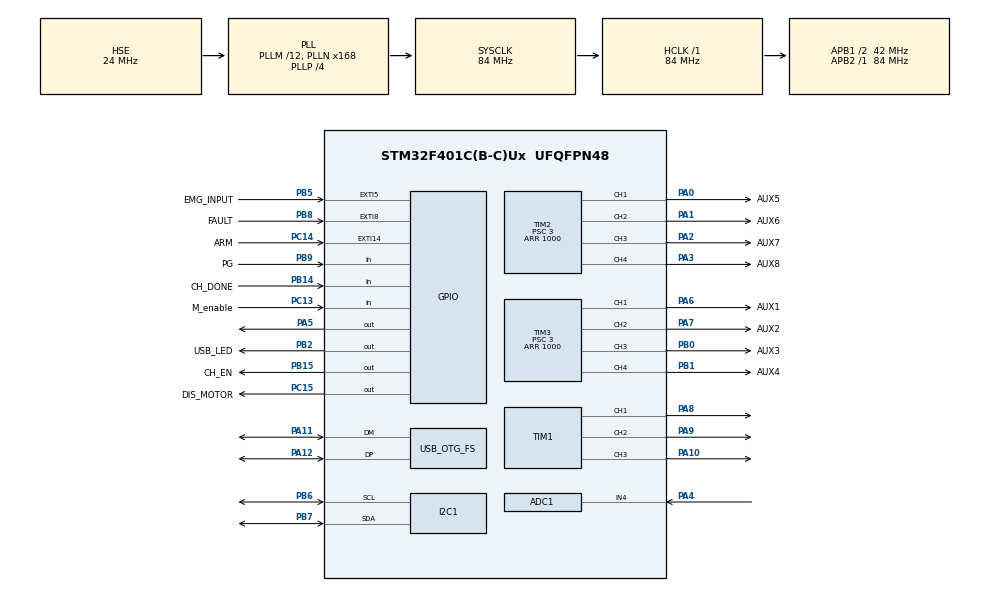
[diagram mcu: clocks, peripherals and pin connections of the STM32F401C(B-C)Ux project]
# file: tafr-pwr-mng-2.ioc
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ADC1.AutoInjectedConv=DISABLE
ADC1.Channel-0\#ChannelRegularConversion=ADC_CHANNEL_4
ADC1.ClockPrescaler=ADC_CLOCK_SYNC_PCLK_DIV4
ADC1.ContinuousConvMode=ENABLE
ADC1.DMAContinuousRequests=ENABLE
ADC1.DataAlign=ADC_DATAALIGN_RIGHT
ADC1.DiscontinuousConvMode=DISABLE
ADC1.EOCSelection=ADC_EOC_SINGLE_CONV
ADC1.EnableAnalogWatchDog=false
ADC1.ExternalTrigConv=ADC_SOFTWARE_START
ADC1.ExternalTrigConvEdge=ADC_EXTERNALTRIGCONVEDGE_NONE
ADC1.InjNumberOfConversion=0
ADC1.InjectedDiscontinuousConvMode=DISABLE
ADC1.NbrOfConversion=1
ADC1.NbrOfConversionFlag=1
ADC1.Rank-0\#ChannelRegularConversion=1
ADC1.Resolution=ADC_RESOLUTION_12B
ADC1.SamplingTime-0\#ChannelRegularConversion=ADC_SAMPLETIME_480CYCLES
ADC1.ScanConvMode=ENABLE
ADC1.master=1
Dma.ADC1.0.Direction=DMA_PERIPH_TO_MEMORY
Dma.ADC1.0.FIFOMode=DMA_FIFOMODE_DISABLE
Dma.ADC1.0.Instance=DMA2_Stream0
Dma.ADC1.0.MemDataAlignment=DMA_MDATAALIGN_HALFWORD
Dma.ADC1.0.MemInc=DMA_MINC_ENABLE
Dma.ADC1.0.Mode=DMA_NORMAL
Dma.ADC1.0.PeriphDataAlignment=DMA_PDATAALIGN_HALFWORD
Dma.ADC1.0.PeriphInc=DMA_PINC_DISABLE
Dma.ADC1.0.Priority=DMA_PRIORITY_LOW
Dma.Request0=ADC1
I2C1.DutyCycle=I2C_DUTYCYCLE_2
I2C1.I2C_Mode=I2C_Fast
Mcu.Family=STM32F4
Mcu.Name=STM32F401C(B-C)Ux
Mcu.Package=UFQFPN48
NVIC.DMA2_Stream0_IRQn=true\:0\:0\:false\:false\:false
NVIC.EXTI15_10_IRQn=true\:0\:0\:false\:false\:true
NVIC.EXTI9_5_IRQn=true\:0\:0\:false\:false\:true
NVIC.OTG_FS_IRQn=true\:0\:0\:false\:false\:true
NVIC.PriorityGroup=NVIC_PRIORITYGROUP_4
NVIC.TIM4_IRQn=true\:0\:0\:false\:false\:true
NVIC.TIM5_IRQn=true\:1\:0\:true\:false\:true
PA0-WKUP.GPIO_Label=AUX5
PA0-WKUP.GPIO_ModeDefaultPP=GPIO_MODE_AF_PP
PA0-WKUP.GPIO_PuPd=GPIO_NOPULL
PA0-WKUP.GPIO_Speed=GPIO_SPEED_FREQ_LOW
PA0-WKUP.Signal=S_TIM2_CH1_ETR
PA1.GPIO_Label=AUX6
PA1.GPIO_ModeDefaultPP=GPIO_MODE_AF_PP
PA1.GPIO_PuPd=GPIO_NOPULL
PA1.GPIO_Speed=GPIO_SPEED_FREQ_LOW
PA1.Signal=S_TIM2_CH2
PA10.GPIO_ModeDefaultPP=GPIO_MODE_AF_PP
PA10.GPIO_PuPd=GPIO_NOPULL
PA10.GPIO_Speed=GPIO_SPEED_FREQ_LOW
PA10.Signal=S_TIM1_CH3
PA11.Mode=Device_Only
PA11.Signal=USB_OTG_FS_DM
PA12.Mode=Device_Only
PA12.Signal=USB_OTG_FS_DP
PA13.Mode=Serial_Wire
PA13.Signal=SYS_JTMS-SWDIO
PA14.Mode=Serial_Wire
PA14.Signal=SYS_JTCK-SWCLK
PA2.GPIO_Label=AUX7
PA2.GPIO_ModeDefaultPP=GPIO_MODE_AF_PP
PA2.GPIO_PuPd=GPIO_NOPULL
PA2.GPIO_Speed=GPIO_SPEED_FREQ_LOW
PA2.Signal=S_TIM2_CH3
PA3.GPIO_Label=AUX8
PA3.GPIO_ModeDefaultPP=GPIO_MODE_AF_PP
PA3.GPIO_PuPd=GPIO_NOPULL
PA3.GPIO_Speed=GPIO_SPEED_FREQ_LOW
PA3.Signal=S_TIM2_CH4
PA4.GPIO_Mode=GPIO_MODE_ANALOG
PA4.GPIO_PuPd=GPIO_NOPULL
PA4.Signal=ADCx_IN4
PA5.PinState=GPIO_PIN_SET
PA5.Signal=GPIO_Output
PA6.GPIO_Label=AUX1
PA6.GPIO_ModeDefaultPP=GPIO_MODE_AF_PP
PA6.GPIO_PuPd=GPIO_NOPULL
PA6.GPIO_Speed=GPIO_SPEED_FREQ_LOW
PA6.Signal=S_TIM3_CH1
PA7.GPIO_Label=AUX2
PA7.GPIO_ModeDefaultPP=GPIO_MODE_AF_PP
PA7.GPIO_PuPd=GPIO_NOPULL
PA7.GPIO_Speed=GPIO_SPEED_FREQ_LOW
PA7.Signal=S_TIM3_CH2
PA8.GPIO_ModeDefaultPP=GPIO_MODE_AF_PP
PA8.GPIO_PuPd=GPIO_NOPULL
PA8.GPIO_Speed=GPIO_SPEED_FREQ_LOW
PA8.Signal=S_TIM1_CH1
PA9.GPIO_ModeDefaultPP=GPIO_MODE_AF_PP
PA9.GPIO_PuPd=GPIO_NOPULL
PA9.GPIO_Speed=GPIO_SPEED_FREQ_LOW
PA9.Signal=S_TIM1_CH2
PB0.GPIO_Label=AUX3
PB0.GPIO_ModeDefaultPP=GPIO_MODE_AF_PP
PB0.GPIO_PuPd=GPIO_NOPULL
PB0.GPIO_Speed=GPIO_SPEED_FREQ_LOW
PB0.Signal=S_TIM3_CH3
PB1.GPIO_Label=AUX4
PB1.GPIO_ModeDefaultPP=GPIO_MODE_AF_PP
PB1.GPIO_PuPd=GPIO_NOPULL
PB1.GPIO_Speed=GPIO_SPEED_FREQ_LOW
PB1.Signal=S_TIM3_CH4
PB14.GPIO_Label=CH_DONE
PB14.GPIO_Mode=GPIO_MODE_INPUT
PB14.GPIO_PuPd=GPIO_NOPULL
PB14.Signal=GPIO_Input
PB15.GPIO_Label=CH_EN
PB15.GPIO_ModeDefaultOutputPP=GPIO_MODE_OUTPUT_PP
PB15.GPIO_PuPd=GPIO_NOPULL
PB15.GPIO_Speed=GPIO_SPEED_FREQ_LOW
PB15.PinState=GPIO_PIN_RESET
PB15.Signal=GPIO_Output
PB2.GPIO_Label=USB_LED
PB2.GPIO_ModeDefaultOutputPP=GPIO_MODE_OUTPUT_PP
PB2.GPIO_PuPd=GPIO_NOPULL
PB2.GPIO_Speed=GPIO_SPEED_FREQ_LOW
PB2.PinState=GPIO_PIN_RESET
PB2.Signal=GPIO_Output
PB5.GPIO_Label=EMG_INPUT
PB5.GPIO_ModeDefaultEXTI=GPIO_MODE_IT_RISING_FALLING
PB5.GPIO_PuPd=GPIO_PULLDOWN
PB5.Signal=GPXTI5
PB6.Mode=I2C
PB6.Signal=I2C1_SCL
PB7.Mode=I2C
PB7.Signal=I2C1_SDA
PB8.GPIO_Label=FAULT
PB8.Signal=GPXTI8
PB9.GPIO_Label=PG
PB9.GPIO_Mode=GPIO_MODE_INPUT
PB9.GPIO_PuPd=GPIO_NOPULL
PB9.Signal=GPIO_Input
PC13-ANTI_TAMP.GPIO_Label=M_enable
PC13-ANTI_TAMP.GPIO_Mode=GPIO_MODE_INPUT
PC13-ANTI_TAMP.GPIO_PuPd=GPIO_NOPULL
PC13-ANTI_TAMP.Signal=GPIO_Input
PC14-OSC32_IN.GPIO_Label=ARM
PC14-OSC32_IN.GPIO_ModeDefaultEXTI=GPIO_MODE_IT_RISING
PC14-OSC32_IN.GPIO_PuPd=GPIO_NOPULL
PC14-OSC32_IN.Signal=GPXTI14
PC15-OSC32_OUT.GPIO_Label=DIS_MOTOR
PC15-OSC32_OUT.GPIO_ModeDefaultOutputPP=GPIO_MODE_OUTPUT_PP
PC15-OSC32_OUT.GPIO_PuPd=GPIO_NOPULL
PC15-OSC32_OUT.GPIO_Speed=GPIO_SPEED_FREQ_LOW
PC15-OSC32_OUT.PinState=GPIO_PIN_RESET
PC15-OSC32_OUT.Signal=GPIO_Output
PH0\ -\ OSC_IN.Mode=HSE-External-Oscillator
PH0\ -\ OSC_IN.Signal=RCC_OSC_IN
PH1\ -\ OSC_OUT.Mode=HSE-External-Oscillator
PH1\ -\ OSC_OUT.Signal=RCC_OSC_OUT
ProjectManager.HeapSize=0x200
ProjectManager.StackSize=0x400
ProjectManager.TargetToolchain=MDK-ARM V5
RCC.48MHZClocksFreq_Value=48000000
RCC.AHBCLKDivider=RCC_SYSCLK_DIV1
RCC.AHBFreq_Value=84000000
RCC.APB1CLKDivider=RCC_HCLK_DIV2
RCC.APB1Freq_Value=42000000
RCC.APB1TimFreq_Value=84000000
RCC.APB2CLKDivider=RCC_HCLK_DIV1
RCC.APB2Freq_Value=84000000
RCC.APB2TimFreq_Value=84000000
RCC.ClockTypeHCLK=RCC_CLOCKTYPE_HCLK
RCC.ClockTypePCLK1=RCC_CLOCKTYPE_PCLK1
RCC.ClockTypePCLK2=RCC_CLOCKTYPE_PCLK2
RCC.ClockTypeSysClk=RCC_CLOCKTYPE_SYSCLK
RCC.CortexFreq_Value=84000000
RCC.Cortex_Div=SYSTICK_CLKSOURCE_HCLK
RCC.DATA_CACHE_ENABLE=1
RCC.EXTERNAL_CLOCK_VALUE=12288000
RCC.EnableExtClockForI2S=false
RCC.EnableHSE=true
RCC.EnableHSERTCDevisor=false
RCC.EnableLSE=false
RCC.EnableLSERTC=false
RCC.ExtClockEnable=false
RCC.FLatency=FLASH_LATENCY_2
RCC.HCLKFreq_Value=84000000
RCC.HSEState=RCC_HSE_ON
RCC.HSE_Timout=500
RCC.HSE_VALUE=24000000
RCC.HSIState=RCC_HSI_OFF
RCC.HSI_VALUE=16000000
RCC.I2SClockSource=I2S_CLOCK_PLL
RCC.I2SEnable=false
RCC.INSTRUCTION_CACHE_ENABLE=1
RCC.IWDGEnable=false
RCC.LSEState=RCC_LSE_OFF
RCC.LSE_VALUE=32768
RCC.LSIState=RCC_LSI_OFF
RCC.MCO1OutPutEnable=false
RCC.MCO2OutPutEnable=false
RCC.OscillatorTypeHSE=RCC_OSCILLATORTYPE_HSE
RCC.OscillatorTypeHSI=RCC_OSCILLATORTYPE_HSI
RCC.PLLM=12
RCC.PLLN=168
RCC.PLLP=RCC_PLLP_DIV4
RCC.PLLQ=7
RCC.PLLSource=RCC_PLLSOURCE_HSE
RCC.PLLSourceVirtual=RCC_PLLSOURCE_HSE
RCC.PLLState=RCC_PLL_ON
RCC.PREFETCH_ENABLE=1
RCC.PWR_Regulator_Voltage_Scale=PWR_REGULATOR_VOLTAGE_SCALE2
RCC.RCC_MCO1Source=RCC_MCO1SOURCE_HSI
RCC.RCC_MCO2Source=RCC_MCO2SOURCE_SYSCLK
RCC.RCC_MCODiv1=RCC_MCODIV_1
RCC.RCC_MCODiv2=RCC_MCODIV_1
RCC.RCC_RTC_Clock_Source=RCC_RTCCLKSOURCE_LSI
RCC.RCC_RTC_Clock_SourceVirtual=RCC_RTCCLKSOURCE_LSI
RCC.RCC_RTC_Clock_Source_FROM_HSE=RCC_RTCCLKSOURCE_HSE_DIV2
RCC.RCC_TIM_PRescaler_Selection=RCC_TIMPRES_DESACTIVATED
RCC.RNGEnable=false
RCC.RTCEnable=false
RCC.SDIOEnable=false
RCC.SYSCLKFreq_VALUE=84000000
RCC.SYSCLKSource=RCC_SYSCLKSOURCE_PLLCLK
RCC.USBFSEnable=true
RCC.USBHSEnable=false
RCC.VCOOutputFreq_Value=336000000
SH.ADCx_IN4.0=ADC1_IN4,IN4
SH.S_TIM1_CH1.0=TIM1_CH1,PWM Generation1 CH1
SH.S_TIM1_CH2.0=TIM1_CH2,PWM Generation2 CH2
SH.S_TIM1_CH3.0=TIM1_CH3,PWM Generation3 CH3
SH.S_TIM2_CH1_ETR.0=TIM2_CH1,PWM Generation1 CH1
SH.S_TIM2_CH2.0=TIM2_CH2,PWM Generation2 CH2
SH.S_TIM2_CH3.0=TIM2_CH3,PWM Generation3 CH3
SH.S_TIM2_CH4.0=TIM2_CH4,PWM Generation4 CH4
SH.S_TIM3_CH1.0=TIM3_CH1,PWM Generation1 CH1
SH.S_TIM3_CH2.0=TIM3_CH2,PWM Generation2 CH2
SH.S_TIM3_CH3.0=TIM3_CH3,PWM Generation3 CH3
SH.S_TIM3_CH4.0=TIM3_CH4,PWM Generation4 CH4
TIM1.Channel-PWM\ Generation1\ CH1=TIM_CHANNEL_1
TIM1.Channel-PWM\ Generation2\ CH2=TIM_CHANNEL_2
TIM1.Channel-PWM\ Generation3\ CH3=TIM_CHANNEL_3
TIM1.OCNIdleState_1=TIM_OCNIDLESTATE_RESET
TIM1.OCNIdleState_2=TIM_OCNIDLESTATE_RESET
TIM1.OCNIdleState_3=TIM_OCNIDLESTATE_RESET
TIM1.OCNPolarity_1=TIM_OCNPOLARITY_HIGH
TIM1.OCNPolarity_2=TIM_OCNPOLARITY_HIGH
TIM1.OCNPolarity_3=TIM_OCNPOLARITY_HIGH
TIM2.Channel-PWM\ Generation1\ CH1=TIM_CHANNEL_1
TIM2.Channel-PWM\ Generation2\ CH2=TIM_CHANNEL_2
TIM2.Channel-PWM\ Generation3\ CH3=TIM_CHANNEL_3
TIM2.Channel-PWM\ Generation4\ CH4=TIM_CHANNEL_4
TIM2.Period=1000
TIM2.Prescaler=3
TIM3.Channel-PWM\ Generation1\ CH1=TIM_CHANNEL_1
TIM3.Channel-PWM\ Generation2\ CH2=TIM_CHANNEL_2
TIM3.Channel-PWM\ Generation3\ CH3=TIM_CHANNEL_3
TIM3.Channel-PWM\ Generation4\ CH4=TIM_CHANNEL_4
TIM3.Period=1000
TIM3.Prescaler=3
TIM4.Period=50000
TIM4.Prescaler=83
TIM5.Period=999
TIM5.Prescaler=83
USB_DEVICE.CLASS_NAME_FS=CDC
USB_DEVICE.USBD_HandleTypeDef_FS=hUsbDevice_OTG_FS
USB_DEVICE.VirtualModeFS=Cdc_FS
USB_OTG_FS.VirtualMode=Device_Only
USB_OTG_FS.phy_itface=PCD_PHY_EMBEDDED
USB_OTG_FS.vbus_sensing_enable=ENABLE
VP_TIM4_VS_ClockSourceINT.Mode=Internal
VP_TIM5_VS_ClockSourceINT.Mode=Internal
VP_USB_DEVICE_VS_USB_DEVICE_CDC_FS.Mode=CDC_FS
board=tafr-pwr-mng-2

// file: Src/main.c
/**
  ******************************************************************************
  * File Name          : main.c
  * Description        : Main program body
  ******************************************************************************
  *
  * Copyright (c) 2018 STMicroelectronics International N.V.
  * All rights reserved.
  *
  * Redistribution and use in source and binary forms, with or without
  * modification, are permitted, provided that the following conditions are met:
  *
  * 1. Redistribution of source code must retain the above copyright notice,
  *    this list of conditions and the following disclaimer.
  * 2. Redistributions in binary form must reproduce the above copyright notice,
  *    this list of conditions and the following disclaimer in the documentation
  *    and/or other materials provided with the distribution.
  * 3. Neither the name of STMicroelectronics nor the names of other
  *    contributors to this software may be used to endorse or promote products
  *    derived from this software without specific written permission.
  * 4. This software, including modifications and/or derivative works of this
  *    software, must execute solely and exclusively on microcontroller or
  *    microprocessor devices manufactured by or for STMicroelectronics.
  * 5. Redistribution and use of this software other than as permitted under
  *    this license is void and will automatically terminate your rights under
  *    this license.
  *
  * THIS SOFTWARE IS PROVIDED BY STMICROELECTRONICS AND CONTRIBUTORS "AS IS"
  * AND ANY EXPRESS, IMPLIED OR STATUTORY WARRANTIES, INCLUDING, BUT NOT
  * LIMITED TO, THE IMPLIED WARRANTIES OF MERCHANTABILITY, FITNESS FOR A
  * PARTICULAR PURPOSE AND NON-INFRINGEMENT OF THIRD PARTY INTELLECTUAL PROPERTY
  * RIGHTS ARE DISCLAIMED TO THE FULLEST EXTENT PERMITTED BY LAW. IN NO EVENT
  * SHALL STMICROELECTRONICS OR CONTRIBUTORS BE LIABLE FOR ANY DIRECT, INDIRECT,
  * INCIDENTAL, SPECIAL, EXEMPLARY, OR CONSEQUENTIAL DAMAGES (INCLUDING, BUT NOT
  * LIMITED TO, PROCUREMENT OF SUBSTITUTE GOODS OR SERVICES; LOSS OF USE, DATA,
  * OR PROFITS; OR BUSINESS INTERRUPTION) HOWEVER CAUSED AND ON ANY THEORY OF
  * LIABILITY, WHETHER IN CONTRACT, STRICT LIABILITY, OR TORT (INCLUDING
  * NEGLIGENCE OR OTHERWISE) ARISING IN ANY WAY OUT OF THE USE OF THIS SOFTWARE,
  * EVEN IF ADVISED OF THE POSSIBILITY OF SUCH DAMAGE.
  *
  ******************************************************************************
  */
#include "main.h"
#include "stm32f4xx_hal.h"
#include "usb_device.h"

/* USER CODE BEGIN Includes */
#include "LTC2943.h"
#include "oled.h"
#include "fonts.h"
#include "outputs.h"
#include "pwm.h"
#include "outputs.h"
#include "LTC2943.h"
#include "oled.h"
#include <string.h>
#include "bitmap.h"
#include "gfx.h"

/* USER CODE END Includes */

ADC_HandleTypeDef hadc1;
DMA_HandleTypeDef hdma_adc1;

I2C_HandleTypeDef hi2c1;

TIM_HandleTypeDef htim1;
TIM_HandleTypeDef htim2;
TIM_HandleTypeDef htim3;
TIM_HandleTypeDef htim4;
TIM_HandleTypeDef htim5;

/* USER CODE BEGIN PV */
/* Private variables ---------------------------------------------------------*/

float temperature, charge, voltage, current;
uint8_t outputs[5] = {0};
uint16_t pwm[8] = {0};
uint16_t rc_pwm[3] = {0};

uint8_t counter = 0, counter2 = 0, counter3 = 0, counter4 = 0, startup = 0, lcd_counter_1 = 0, arm_flag = 0, counter5 = 0;
uint8_t startup_time = 10;
uint8_t display_state = 0;

extern uint8_t remote_emg, user_override, arm;
uint8_t user_override_lcd = 0;

/* USER CODE END PV */

void SystemClock_Config(void);
void Error_Handler(void);
static void MX_GPIO_Init(void);
static void MX_DMA_Init(void);
static void MX_ADC1_Init(void);
static void MX_TIM1_Init(void);
static void MX_TIM2_Init(void);
static void MX_TIM3_Init(void);
static void MX_I2C1_Init(void);
static void MX_TIM5_Init(void);
static void MX_TIM4_Init(void);

void HAL_TIM_MspPostInit(TIM_HandleTypeDef *htim);

/* USER CODE BEGIN PFP */
/* Private function prototypes -----------------------------------------------*/

/* USER CODE END PFP */

int main(void)
{

  /* MCU Configuration----------------------------------------------------------*/

  /* Reset of all peripherals, Initializes the Flash interface and the Systick. */
  HAL_Init();

  /* Configure the system clock */
  SystemClock_Config();

  /* Initialize all configured peripherals */
  MX_GPIO_Init();
  MX_DMA_Init();
  MX_ADC1_Init();
  MX_TIM1_Init();
  MX_TIM2_Init();
  MX_TIM3_Init();
  MX_I2C1_Init();
  MX_TIM5_Init();
  MX_USB_DEVICE_Init();
  MX_TIM4_Init();

  /* USER CODE BEGIN 2 */

	LTC_init(hi2c1);
	oled_init();
	HAL_Delay(50);

	HAL_TIM_Base_Start_IT(&htim4);
	HAL_TIM_Base_Start_IT(&htim5);

  /* USER CODE END 2 */

  /* Infinite loop */
  /* USER CODE BEGIN WHILE */
  while (1)
  {

				//whole loop takes about 80ms to complete because long i2c writes to oled
		update_usb_led();

		LTC_getdata(&temperature,&charge,&voltage,&current); //read data from power meter

		char buff[20];

		//clear gddr
		clear();

		if(startup<32)
		{
			draw_tafr(31,0);
			graphics_text(0,0,FONT_TEN_DOT,"V0.99");
			startup++;
		}
		else
		{
			//voltage,current,power,temperature
			sprintf(buff,"%4.1fV",voltage);
			graphics_text(0,0,FONT_TEN_DOT,buff);
			sprintf(buff,"%4.1fA",current);
			graphics_text(0,12,FONT_TEN_DOT,buff);
			float power = voltage*current;
			sprintf(buff,"%4.1fW",power);
			graphics_text(84,0,FONT_TEN_DOT,buff);
			sprintf(buff,"%4.1fC",temperature);
			graphics_text(84,12,FONT_TEN_DOT,buff);
			line_h(0,127,25,1,add);
			line_v(0,25,48,1,add);
			line_v(0,25,78,1,add);

			sprintf(buff,"%5.0fmAh",charge);
			graphics_text(92,58,FONT_FIVE_DOT,buff);

			if(counter4++>32)
			{
				counter4 = 0;
				display_state++;
				if(display_state==11)
					display_state = 0;
			}

			if(display_state<4)
				sprintf(buff,"OUT%d: %d",display_state+1,outputs[display_state]);
			else if(display_state<8)
				sprintf(buff,"PWM%d: %d",display_state-3,pwm[display_state-4]);
			else
				sprintf(buff,"SERVO%d: %d",display_state-7,rc_pwm[display_state-8]);

			graphics_text(0,58,FONT_FIVE_DOT,buff);

			line_h(0,127,56,1,add);
			line_v(56,63,63,1,add);

			//usb
			if(is_usb_connected())
				draw_usb(50,0);

			//interface

			if(HAL_GPIO_ReadPin(M_enable_GPIO_Port,M_enable_Pin))
			{
				if(counter3<startup_time)
				{
					//graphics_text(30,32,FONT_TEN_DOT,"STARTING");
					line_h(5,123,41,12,add);
					line_h(7,121,41,8,erase);
					line_h(9,9+110*counter3/startup_time,41,4,add);
					counter3++;
				}
				else
				{
					graphics_text(30,34,FONT_FIFTEEN_DOT,"ARMED");
					if(counter2++%32<20)
					{
						graphics_text(15,34,FONT_FIFTEEN_DOT,"!");
						graphics_text(110,34,FONT_FIFTEEN_DOT,"!");
					}
				}
				counter = 0;
			}
			else
			{
				if(counter5%32<25)
				{
					if(remote_emg)
						graphics_text(2,30,FONT_TEN_DOT,"RELEASE REMOTE");
					else
						graphics_text(15,30,FONT_TEN_DOT,"RELEASE EMG");
					graphics_text(15,43,FONT_TEN_DOT,"PRESS POWER");
				}

				counter2 = 0;
				counter3 = 0;
			}
		}

		oled_update();

		HAL_Delay(50);
  /* USER CODE END WHILE */

  }

}

/** System Clock Configuration
*/
void SystemClock_Config(void)
{

  RCC_OscInitTypeDef RCC_OscInitStruct;
  RCC_ClkInitTypeDef RCC_ClkInitStruct;

    /**Configure the main internal regulator output voltage
    */
  __HAL_RCC_PWR_CLK_ENABLE();

  __HAL_PWR_VOLTAGESCALING_CONFIG(PWR_REGULATOR_VOLTAGE_SCALE2);

    /**Initializes the CPU, AHB and APB busses clocks
    */
  RCC_OscInitStruct.OscillatorType = RCC_OSCILLATORTYPE_HSE;
  RCC_OscInitStruct.HSEState = RCC_HSE_ON;
  RCC_OscInitStruct.PLL.PLLState = RCC_PLL_ON;
  RCC_OscInitStruct.PLL.PLLSource = RCC_PLLSOURCE_HSE;
  RCC_OscInitStruct.PLL.PLLM = 12;
  RCC_OscInitStruct.PLL.PLLN = 168;
  RCC_OscInitStruct.PLL.PLLP = RCC_PLLP_DIV4;
  RCC_OscInitStruct.PLL.PLLQ = 7;
  if (HAL_RCC_OscConfig(&RCC_OscInitStruct) != HAL_OK)
  {
    Error_Handler();
  }

    /**Initializes the CPU, AHB and APB busses clocks
    */
  RCC_ClkInitStruct.ClockType = RCC_CLOCKTYPE_HCLK|RCC_CLOCKTYPE_SYSCLK
                              |RCC_CLOCKTYPE_PCLK1|RCC_CLOCKTYPE_PCLK2;
  RCC_ClkInitStruct.SYSCLKSource = RCC_SYSCLKSOURCE_PLLCLK;
  RCC_ClkInitStruct.AHBCLKDivider = RCC_SYSCLK_DIV1;
  RCC_ClkInitStruct.APB1CLKDivider = RCC_HCLK_DIV2;
  RCC_ClkInitStruct.APB2CLKDivider = RCC_HCLK_DIV1;

  if (HAL_RCC_ClockConfig(&RCC_ClkInitStruct, FLASH_LATENCY_2) != HAL_OK)
  {
    Error_Handler();
  }

    /**Configure the Systick interrupt time
    */
  HAL_SYSTICK_Config(HAL_RCC_GetHCLKFreq()/1000);

    /**Configure the Systick
    */
  HAL_SYSTICK_CLKSourceConfig(SYSTICK_CLKSOURCE_HCLK);

  /* SysTick_IRQn interrupt configuration */
  HAL_NVIC_SetPriority(SysTick_IRQn, 0, 0);
}

/* ADC1 init function */
static void MX_ADC1_Init(void)
{

  ADC_ChannelConfTypeDef sConfig;

    /**Configure the global features of the ADC (Clock, Resolution, Data Alignment and number of conversion)
    */
  hadc1.Instance = ADC1;
  hadc1.Init.ClockPrescaler = ADC_CLOCK_SYNC_PCLK_DIV4;
  hadc1.Init.Resolution = ADC_RESOLUTION_12B;
  hadc1.Init.ScanConvMode = ENABLE;
  hadc1.Init.ContinuousConvMode = ENABLE;
  hadc1.Init.DiscontinuousConvMode = DISABLE;
  hadc1.Init.ExternalTrigConvEdge = ADC_EXTERNALTRIGCONVEDGE_NONE;
  hadc1.Init.ExternalTrigConv = ADC_SOFTWARE_START;
  hadc1.Init.DataAlign = ADC_DATAALIGN_RIGHT;
  hadc1.Init.NbrOfConversion = 1;
  hadc1.Init.DMAContinuousRequests = ENABLE;
  hadc1.Init.EOCSelection = ADC_EOC_SINGLE_CONV;
  if (HAL_ADC_Init(&hadc1) != HAL_OK)
  {
    Error_Handler();
  }

    /**Configure for the selected ADC regular channel its corresponding rank in the sequencer and its sample time.
    */
  sConfig.Channel = ADC_CHANNEL_4;
  sConfig.Rank = 1;
  sConfig.SamplingTime = ADC_SAMPLETIME_480CYCLES;
  if (HAL_ADC_ConfigChannel(&hadc1, &sConfig) != HAL_OK)
  {
    Error_Handler();
  }

}

/* I2C1 init function */
static void MX_I2C1_Init(void)
{

  hi2c1.Instance = I2C1;
  hi2c1.Init.ClockSpeed = 400000;
  hi2c1.Init.DutyCycle = I2C_DUTYCYCLE_2;
  hi2c1.Init.OwnAddress1 = 0;
  hi2c1.Init.AddressingMode = I2C_ADDRESSINGMODE_7BIT;
  hi2c1.Init.DualAddressMode = I2C_DUALADDRESS_DISABLE;
  hi2c1.Init.OwnAddress2 = 0;
  hi2c1.Init.GeneralCallMode = I2C_GENERALCALL_DISABLE;
  hi2c1.Init.NoStretchMode = I2C_NOSTRETCH_DISABLE;
  if (HAL_I2C_Init(&hi2c1) != HAL_OK)
  {
    Error_Handler();
  }

}

/* TIM1 init function */
static void MX_TIM1_Init(void)
{

  TIM_MasterConfigTypeDef sMasterConfig;
  TIM_OC_InitTypeDef sConfigOC;
  TIM_BreakDeadTimeConfigTypeDef sBreakDeadTimeConfig;

  htim1.Instance = TIM1;
  htim1.Init.Prescaler = 0;
  htim1.Init.CounterMode = TIM_COUNTERMODE_UP;
  htim1.Init.Period = 0;
  htim1.Init.ClockDivision = TIM_CLOCKDIVISION_DIV1;
  htim1.Init.RepetitionCounter = 0;
  if (HAL_TIM_PWM_Init(&htim1) != HAL_OK)
  {
    Error_Handler();
  }

  sMasterConfig.MasterOutputTrigger = TIM_TRGO_RESET;
  sMasterConfig.MasterSlaveMode = TIM_MASTERSLAVEMODE_DISABLE;
  if (HAL_TIMEx_MasterConfigSynchronization(&htim1, &sMasterConfig) != HAL_OK)
  {
    Error_Handler();
  }

  sConfigOC.OCMode = TIM_OCMODE_PWM1;
  sConfigOC.Pulse = 0;
  sConfigOC.OCPolarity = TIM_OCPOLARITY_HIGH;
  sConfigOC.OCNPolarity = TIM_OCNPOLARITY_HIGH;
  sConfigOC.OCFastMode = TIM_OCFAST_DISABLE;
  sConfigOC.OCIdleState = TIM_OCIDLESTATE_RESET;
  sConfigOC.OCNIdleState = TIM_OCNIDLESTATE_RESET;
  if (HAL_TIM_PWM_ConfigChannel(&htim1, &sConfigOC, TIM_CHANNEL_1) != HAL_OK)
  {
    Error_Handler();
  }

  if (HAL_TIM_PWM_ConfigChannel(&htim1, &sConfigOC, TIM_CHANNEL_2) != HAL_OK)
  {
    Error_Handler();
  }

  if (HAL_TIM_PWM_ConfigChannel(&htim1, &sConfigOC, TIM_CHANNEL_3) != HAL_OK)
  {
    Error_Handler();
  }

  sBreakDeadTimeConfig.OffStateRunMode = TIM_OSSR_DISABLE;
  sBreakDeadTimeConfig.OffStateIDLEMode = TIM_OSSI_DISABLE;
  sBreakDeadTimeConfig.LockLevel = TIM_LOCKLEVEL_OFF;
  sBreakDeadTimeConfig.DeadTime = 0;
  sBreakDeadTimeConfig.BreakState = TIM_BREAK_DISABLE;
  sBreakDeadTimeConfig.BreakPolarity = TIM_BREAKPOLARITY_HIGH;
  sBreakDeadTimeConfig.AutomaticOutput = TIM_AUTOMATICOUTPUT_DISABLE;
  if (HAL_TIMEx_ConfigBreakDeadTime(&htim1, &sBreakDeadTimeConfig) != HAL_OK)
  {
    Error_Handler();
  }

  HAL_TIM_MspPostInit(&htim1);

}

/* TIM2 init function */
static void MX_TIM2_Init(void)
{

  TIM_MasterConfigTypeDef sMasterConfig;
  TIM_OC_InitTypeDef sConfigOC;

  htim2.Instance = TIM2;
  htim2.Init.Prescaler = 3;
  htim2.Init.CounterMode = TIM_COUNTERMODE_UP;
  htim2.Init.Period = 1000;
  htim2.Init.ClockDivision = TIM_CLOCKDIVISION_DIV1;
  if (HAL_TIM_PWM_Init(&htim2) != HAL_OK)
  {
    Error_Handler();
  }

  sMasterConfig.MasterOutputTrigger = TIM_TRGO_RESET;
  sMasterConfig.MasterSlaveMode = TIM_MASTERSLAVEMODE_DISABLE;
  if (HAL_TIMEx_MasterConfigSynchronization(&htim2, &sMasterConfig) != HAL_OK)
  {
    Error_Handler();
  }

  sConfigOC.OCMode = TIM_OCMODE_PWM1;
  sConfigOC.Pulse = 0;
  sConfigOC.OCPolarity = TIM_OCPOLARITY_HIGH;
  sConfigOC.OCFastMode = TIM_OCFAST_DISABLE;
  if (HAL_TIM_PWM_ConfigChannel(&htim2, &sConfigOC, TIM_CHANNEL_1) != HAL_OK)
  {
    Error_Handler();
  }

  if (HAL_TIM_PWM_ConfigChannel(&htim2, &sConfigOC, TIM_CHANNEL_2) != HAL_OK)
  {
    Error_Handler();
  }

  if (HAL_TIM_PWM_ConfigChannel(&htim2, &sConfigOC, TIM_CHANNEL_3) != HAL_OK)
  {
    Error_Handler();
  }

  if (HAL_TIM_PWM_ConfigChannel(&htim2, &sConfigOC, TIM_CHANNEL_4) != HAL_OK)
  {
    Error_Handler();
  }

  HAL_TIM_MspPostInit(&htim2);

}

/* TIM3 init function */
static void MX_TIM3_Init(void)
{

  TIM_MasterConfigTypeDef sMasterConfig;
  TIM_OC_InitTypeDef sConfigOC;

  htim3.Instance = TIM3;
  htim3.Init.Prescaler = 3;
  htim3.Init.CounterMode = TIM_COUNTERMODE_UP;
  htim3.Init.Period = 1000;
  htim3.Init.ClockDivision = TIM_CLOCKDIVISION_DIV1;
  if (HAL_TIM_PWM_Init(&htim3) != HAL_OK)
  {
    Error_Handler();
  }

  sMasterConfig.MasterOutputTrigger = TIM_TRGO_RESET;
  sMasterConfig.MasterSlaveMode = TIM_MASTERSLAVEMODE_DISABLE;
  if (HAL_TIMEx_MasterConfigSynchronization(&htim3, &sMasterConfig) != HAL_OK)
  {
    Error_Handler();
  }

  sConfigOC.OCMode = TIM_OCMODE_PWM1;
  sConfigOC.Pulse = 0;
  sConfigOC.OCPolarity = TIM_OCPOLARITY_HIGH;
  sConfigOC.OCFastMode = TIM_OCFAST_DISABLE;
  if (HAL_TIM_PWM_ConfigChannel(&htim3, &sConfigOC, TIM_CHANNEL_1) != HAL_OK)
  {
    Error_Handler();
  }

  if (HAL_TIM_PWM_ConfigChannel(&htim3, &sConfigOC, TIM_CHANNEL_2) != HAL_OK)
  {
    Error_Handler();
  }

  if (HAL_TIM_PWM_ConfigChannel(&htim3, &sConfigOC, TIM_CHANNEL_3) != HAL_OK)
  {
    Error_Handler();
  }

  if (HAL_TIM_PWM_ConfigChannel(&htim3, &sConfigOC, TIM_CHANNEL_4) != HAL_OK)
  {
    Error_Handler();
  }

  HAL_TIM_MspPostInit(&htim3);

}

/* TIM4 init function */
static void MX_TIM4_Init(void)
{

  TIM_ClockConfigTypeDef sClockSourceConfig;
  TIM_MasterConfigTypeDef sMasterConfig;

  htim4.Instance = TIM4;
  htim4.Init.Prescaler = 83;
  htim4.Init.CounterMode = TIM_COUNTERMODE_UP;
  htim4.Init.Period = 50000;
  htim4.Init.ClockDivision = TIM_CLOCKDIVISION_DIV1;
  if (HAL_TIM_Base_Init(&htim4) != HAL_OK)
  {
    Error_Handler();
  }

  sClockSourceConfig.ClockSource = TIM_CLOCKSOURCE_INTERNAL;
  if (HAL_TIM_ConfigClockSource(&htim4, &sClockSourceConfig) != HAL_OK)
  {
    Error_Handler();
  }

  sMasterConfig.MasterOutputTrigger = TIM_TRGO_RESET;
  sMasterConfig.MasterSlaveMode = TIM_MASTERSLAVEMODE_DISABLE;
  if (HAL_TIMEx_MasterConfigSynchronization(&htim4, &sMasterConfig) != HAL_OK)
  {
    Error_Handler();
  }

}

/* TIM5 init function */
static void MX_TIM5_Init(void)
{

  TIM_ClockConfigTypeDef sClockSourceConfig;
  TIM_MasterConfigTypeDef sMasterConfig;

  htim5.Instance = TIM5;
  htim5.Init.Prescaler = 83;
  htim5.Init.CounterMode = TIM_COUNTERMODE_UP;
  htim5.Init.Period = 999;
  htim5.Init.ClockDivision = TIM_CLOCKDIVISION_DIV1;
  if (HAL_TIM_Base_Init(&htim5) != HAL_OK)
  {
    Error_Handler();
  }

  sClockSourceConfig.ClockSource = TIM_CLOCKSOURCE_INTERNAL;
  if (HAL_TIM_ConfigClockSource(&htim5, &sClockSourceConfig) != HAL_OK)
  {
    Error_Handler();
  }

  sMasterConfig.MasterOutputTrigger = TIM_TRGO_RESET;
  sMasterConfig.MasterSlaveMode = TIM_MASTERSLAVEMODE_DISABLE;
  if (HAL_TIMEx_MasterConfigSynchronization(&htim5, &sMasterConfig) != HAL_OK)
  {
    Error_Handler();
  }

}

static void MX_DMA_Init(void)
{
  /* DMA controller clock enable */
  __HAL_RCC_DMA2_CLK_ENABLE();

  /* DMA interrupt init */
  /* DMA2_Stream0_IRQn interrupt configuration */
  HAL_NVIC_SetPriority(DMA2_Stream0_IRQn, 0, 0);
  HAL_NVIC_EnableIRQ(DMA2_Stream0_IRQn);

}

/** Configure pins as
        * Analog
        * Input
        * Output
        * EVENT_OUT
        * EXTI
*/
static void MX_GPIO_Init(void)
{

  GPIO_InitTypeDef GPIO_InitStruct;

  /* GPIO Ports Clock Enable */
  __HAL_RCC_GPIOC_CLK_ENABLE();
  __HAL_RCC_GPIOH_CLK_ENABLE();
  __HAL_RCC_GPIOA_CLK_ENABLE();
  __HAL_RCC_GPIOB_CLK_ENABLE();

  /*Configure GPIO pin Output Level */
  HAL_GPIO_WritePin(DIS_MOTOR_GPIO_Port, DIS_MOTOR_Pin, GPIO_PIN_RESET);

  /*Configure GPIO pin Output Level */
  HAL_GPIO_WritePin(GPIOA, GPIO_PIN_5, GPIO_PIN_SET);

  /*Configure GPIO pin Output Level */
  HAL_GPIO_WritePin(GPIOB, USB_LED_Pin|CH_EN_Pin, GPIO_PIN_RESET);

  /*Configure GPIO pin : M_enable_Pin */
  GPIO_InitStruct.Pin = M_enable_Pin;
  GPIO_InitStruct.Mode = GPIO_MODE_INPUT;
  GPIO_InitStruct.Pull = GPIO_NOPULL;
  HAL_GPIO_Init(M_enable_GPIO_Port, &GPIO_InitStruct);

  /*Configure GPIO pin : ARM_Pin */
  GPIO_InitStruct.Pin = ARM_Pin;
  GPIO_InitStruct.Mode = GPIO_MODE_IT_RISING;
  GPIO_InitStruct.Pull = GPIO_NOPULL;
  HAL_GPIO_Init(ARM_GPIO_Port, &GPIO_InitStruct);

  /*Configure GPIO pin : DIS_MOTOR_Pin */
  GPIO_InitStruct.Pin = DIS_MOTOR_Pin;
  GPIO_InitStruct.Mode = GPIO_MODE_OUTPUT_PP;
  GPIO_InitStruct.Pull = GPIO_NOPULL;
  GPIO_InitStruct.Speed = GPIO_SPEED_FREQ_LOW;
  HAL_GPIO_Init(DIS_MOTOR_GPIO_Port, &GPIO_InitStruct);

  /*Configure GPIO pin : PA5 */
  GPIO_InitStruct.Pin = GPIO_PIN_5;
  GPIO_InitStruct.Mode = GPIO_MODE_OUTPUT_PP;
  GPIO_InitStruct.Pull = GPIO_NOPULL;
  GPIO_InitStruct.Speed = GPIO_SPEED_FREQ_LOW;
  HAL_GPIO_Init(GPIOA, &GPIO_InitStruct);

  /*Configure GPIO pins : USB_LED_Pin CH_EN_Pin */
  GPIO_InitStruct.Pin = USB_LED_Pin|CH_EN_Pin;
  GPIO_InitStruct.Mode = GPIO_MODE_OUTPUT_PP;
  GPIO_InitStruct.Pull = GPIO_NOPULL;
  GPIO_InitStruct.Speed = GPIO_SPEED_FREQ_LOW;
  HAL_GPIO_Init(GPIOB, &GPIO_InitStruct);

  /*Configure GPIO pins : CH_DONE_Pin PG_Pin */
  GPIO_InitStruct.Pin = CH_DONE_Pin|PG_Pin;
  GPIO_InitStruct.Mode = GPIO_MODE_INPUT;
  GPIO_InitStruct.Pull = GPIO_NOPULL;
  HAL_GPIO_Init(GPIOB, &GPIO_InitStruct);

  /*Configure GPIO pin : EMG_INPUT_Pin */
  GPIO_InitStruct.Pin = EMG_INPUT_Pin;
  GPIO_InitStruct.Mode = GPIO_MODE_IT_RISING_FALLING;
  GPIO_InitStruct.Pull = GPIO_PULLDOWN;
  HAL_GPIO_Init(EMG_INPUT_GPIO_Port, &GPIO_InitStruct);

  /*Configure GPIO pin : FAULT_Pin */
  GPIO_InitStruct.Pin = FAULT_Pin;
  GPIO_InitStruct.Mode = GPIO_MODE_IT_RISING;
  GPIO_InitStruct.Pull = GPIO_NOPULL;
  HAL_GPIO_Init(FAULT_GPIO_Port, &GPIO_InitStruct);

  /* EXTI interrupt init*/
  HAL_NVIC_SetPriority(EXTI9_5_IRQn, 0, 0);
  HAL_NVIC_EnableIRQ(EXTI9_5_IRQn);

  HAL_NVIC_SetPriority(EXTI15_10_IRQn, 0, 0);
  HAL_NVIC_EnableIRQ(EXTI15_10_IRQn);

}

void Error_Handler(void)
{
  while(1)
  {
  }
}

/************************ (C) COPYRIGHT STMicroelectronics *****END OF FILE****/
